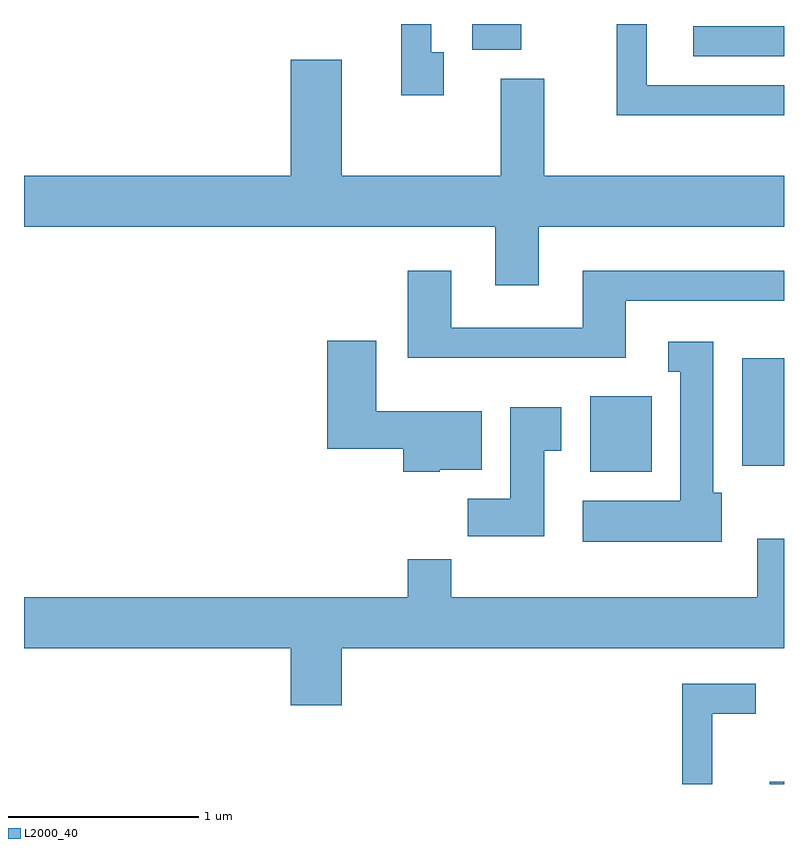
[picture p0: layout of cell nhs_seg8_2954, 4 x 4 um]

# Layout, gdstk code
import gdstk
lib = gdstk.Library(unit=1e-6, precision=1e-09)
def R(c, l, rs):  # rectangles x0, y0, x1, y1
    for r in rs: c.add(gdstk.rectangle(r[:2], r[2:], *l))
def P(c, l, *ps):  # polygons
    for p in ps: c.add(gdstk.Polygon(p, *l))
L2000_40 = (2000, 40)

nhs_seg8_2954 = lib.new_cell('nhs_seg8_2954')
R(nhs_seg8_2954, L2000_40, [(277.536,1862.342,277.611,1862.353), (276.591,1863.986,276.914,1864.384), (277.391,1864.016,277.611,1864.584), (277.133,1866.171,277.611,1866.329), (275.971,1866.206,276.229,1866.342)])
P(nhs_seg8_2954, L2000_40, [(277.611,1866.019),(276.889,1866.019),(276.889,1866.342),(276.731,1866.342),(276.731,1865.861),(277.611,1865.861)],
  [(275.819,1866.194),(275.754,1866.194),(275.754,1866.342),(275.596,1866.342),(275.596,1865.966),(275.819,1865.966)],
  [(276.319,1865.276),(277.611,1865.276),(277.611,1865.544),(276.349,1865.544),(276.349,1866.054),(276.121,1866.054),(276.121,1865.544),(275.284,1865.544),(275.284,1866.154),(275.016,1866.154),(275.016,1865.544),(273.611,1865.544),(273.611,1865.276),(276.091,1865.276),(276.091,1864.966),(276.319,1864.966)],
  [(276.779,1864.886),(277.611,1864.886),(277.611,1865.044),(276.551,1865.044),(276.551,1864.744),(275.859,1864.744),(275.859,1865.044),(275.631,1865.044),(275.631,1864.586),(276.779,1864.586)],
  [(275.8,1863.996),(276.019,1863.996),(276.019,1864.304),(275.464,1864.304),(275.464,1864.674),(275.206,1864.674),(275.206,1864.106),(275.606,1864.106),(275.606,1863.986),(275.8,1863.986)],
  [(277.284,1863.874),(277.239,1863.874),(277.239,1864.669),(277.003,1864.669),(277.003,1864.511),(277.066,1864.511),(277.066,1863.834),(276.551,1863.834),(276.551,1863.616),(277.284,1863.616)],
  [(276.349,1864.096),(276.439,1864.096),(276.439,1864.324),(276.171,1864.324),(276.171,1863.844),(275.946,1863.844),(275.946,1863.646),(276.349,1863.646)],
  [(275.284,1863.056),(277.611,1863.056),(277.611,1863.634),(277.471,1863.634),(277.471,1863.324),(275.859,1863.324),(275.859,1863.524),(275.631,1863.524),(275.631,1863.324),(273.611,1863.324),(273.611,1863.056),(275.016,1863.056),(275.016,1862.756),(275.284,1862.756)],
  [(277.234,1862.711),(277.463,1862.711),(277.463,1862.869),(277.076,1862.869),(277.076,1862.342),(277.234,1862.342)])

lib.write_gds('nhs_seg8_2954.gds')
